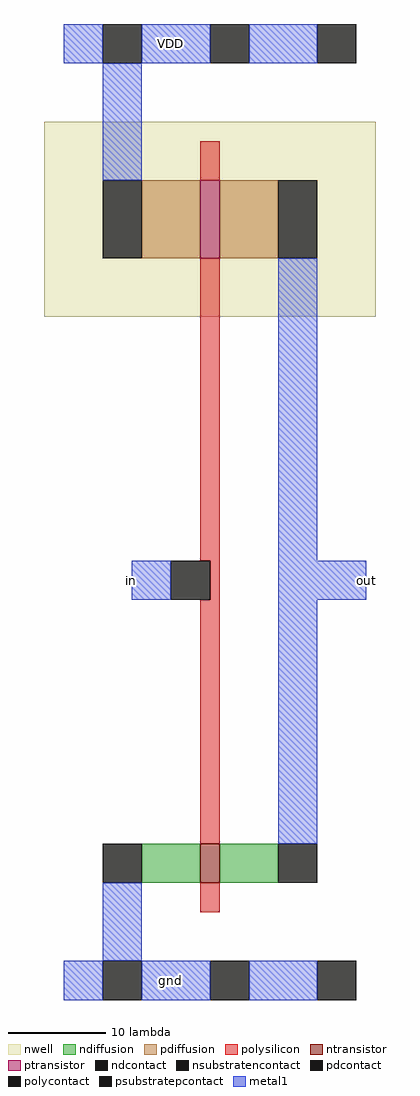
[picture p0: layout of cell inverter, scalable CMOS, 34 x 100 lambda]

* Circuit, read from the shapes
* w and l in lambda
.subckt inverter VDD gnd in out
M1 out in gnd gnd nfet w=4 l=2
M2 out in VDD n1 pfet w=8 l=2
.ends

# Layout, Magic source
magic
tech scmos
<< nwell >>
rect -6 -6 28 14
<< ntransistor >>
rect 10 -64 12 -60
<< ptransistor >>
rect 10 0 12 8
<< ndiffusion >>
rect 4 -64 10 -60
rect 12 -64 18 -60
<< pdiffusion >>
rect 4 0 10 8
rect 12 0 18 8
<< ndcontact >>
rect 0 -64 4 -60
rect 18 -64 22 -60
<< pdcontact >>
rect 0 0 4 8
rect 18 0 22 8
<< psubstratepcontact >>
rect 0 -76 4 -72
rect 11 -76 15 -72
rect 22 -76 26 -72
<< nsubstratencontact >>
rect 0 20 4 24
rect 11 20 15 24
rect 22 20 26 24
<< polysilicon >>
rect 10 8 12 12
rect 10 -31 12 0
rect 11 -35 12 -31
rect 10 -60 12 -35
rect 10 -67 12 -64
<< polycontact >>
rect 7 -35 11 -31
<< metal1 >>
rect -4 20 0 24
rect 4 20 11 24
rect 15 20 22 24
rect 0 8 4 20
rect 18 -31 22 0
rect 3 -35 7 -31
rect 18 -35 27 -31
rect 18 -60 22 -35
rect 0 -72 4 -64
rect -4 -76 0 -72
rect 4 -76 11 -72
rect 15 -76 22 -72
<< labels >>
rlabel metal1 27 -35 27 -31 7 out
rlabel metal1 3 -35 3 -31 1 in
rlabel metal1 7 22 7 22 5 VDD
rlabel metal1 7 -74 7 -74 1 gnd
<< end >>
